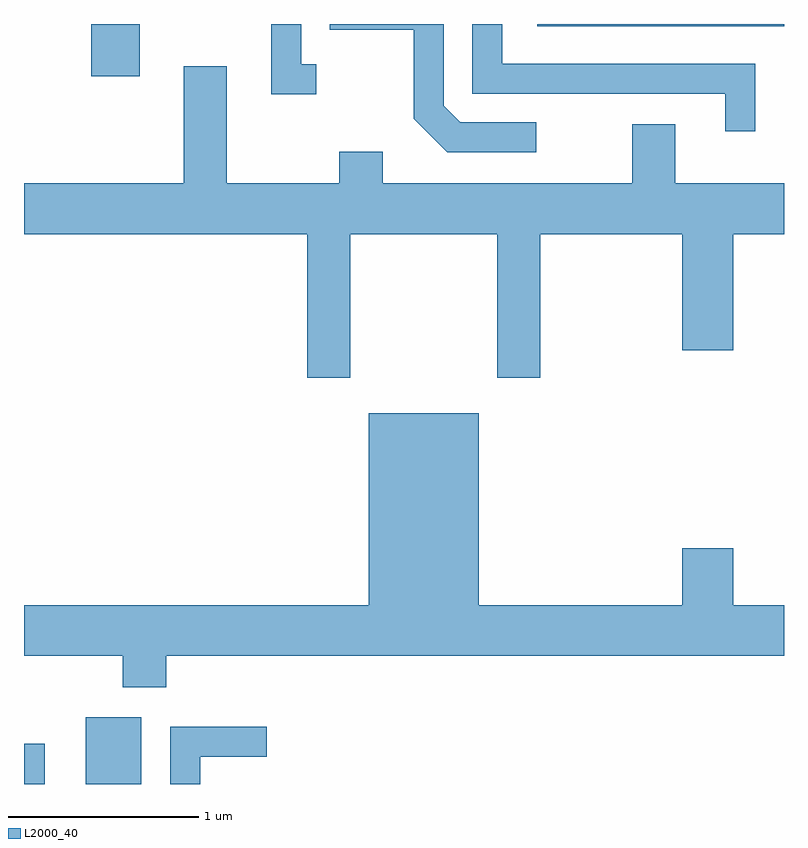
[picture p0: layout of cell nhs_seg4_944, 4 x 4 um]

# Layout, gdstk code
import gdstk
lib = gdstk.Library(unit=1e-6, precision=1e-09)
def R(c, l, rs):  # rectangles x0, y0, x1, y1
    for r in rs: c.add(gdstk.rectangle(r[:2], r[2:], *l))
def P(c, l, *ps):  # polygons
    for p in ps: c.add(gdstk.Polygon(p, *l))
L2000_40 = (2000, 40)

nhs_seg4_944 = lib.new_cell('nhs_seg4_944')
R(nhs_seg4_944, L2000_40, [(211.611,1373.982,211.719,1374.193), (211.936,1373.982,212.229,1374.334), (211.966,1377.706,212.219,1377.982), (214.311,1377.971,215.611,1377.982)])
P(nhs_seg4_944, L2000_40, [(213.148,1377.769),(213.069,1377.769),(213.069,1377.982),(212.911,1377.982),(212.911,1377.611),(213.148,1377.611)],
  [(214.308,1377.464),(213.907,1377.464),(213.819,1377.552),(213.819,1377.982),(213.221,1377.982),(213.221,1377.951),(213.661,1377.951),(213.661,1377.484),(213.839,1377.306),(214.308,1377.306)],
  [(215.459,1377.774),(214.129,1377.774),(214.129,1377.982),(213.971,1377.982),(213.971,1377.616),(215.301,1377.616),(215.301,1377.418),(215.459,1377.418)],
  [(213.329,1376.876),(214.101,1376.876),(214.101,1376.121),(214.329,1376.121),(214.329,1376.876),(215.076,1376.876),(215.076,1376.266),(215.344,1376.266),(215.344,1376.876),(215.611,1376.876),(215.611,1377.144),(215.039,1377.144),(215.039,1377.454),(214.811,1377.454),(214.811,1377.144),(213.499,1377.144),(213.499,1377.309),(213.271,1377.309),(213.271,1377.144),(212.679,1377.144),(212.679,1377.759),(212.451,1377.759),(212.451,1377.144),(211.611,1377.144),(211.611,1376.876),(213.101,1376.876),(213.101,1376.121),(213.329,1376.121)],
  [(212.359,1374.656),(215.611,1374.656),(215.611,1374.924),(215.344,1374.924),(215.344,1375.224),(215.076,1375.224),(215.076,1374.924),(214.004,1374.924),(214.004,1375.934),(213.426,1375.934),(213.426,1374.924),(211.611,1374.924),(211.611,1374.656),(212.131,1374.656),(212.131,1374.491),(212.359,1374.491)],
  [(212.539,1374.126),(212.888,1374.126),(212.888,1374.284),(212.381,1374.284),(212.381,1373.982),(212.539,1373.982)])

lib.write_gds('nhs_seg4_944.gds')
